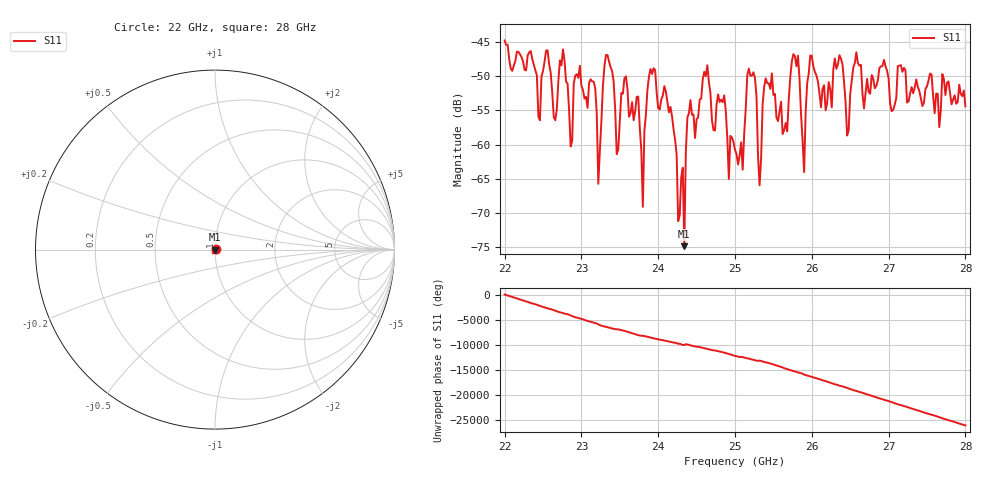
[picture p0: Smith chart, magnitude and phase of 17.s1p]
#  HZ  S  RI  R  50.00
! Rohde & Schwarz ZVA40 4Ports - Version 3.90 - 1145.1110k42 SN: 100403
! Date: 2023-10-04 05:57:40
! Measurement: S12
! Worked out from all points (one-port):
!   301 points, 22 GHz to 28 GHz, reference 50 ohm
!   lowest |S11| = -74.8 dB at 24.34 GHz (marker M1), VSWR 1.00, Z = 50 + j0.0167 ohm
!   |S11| at or under -10 dB: start of sweep to end of sweep
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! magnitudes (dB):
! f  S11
! 22 GHz  -44.8
! 22.46 GHz  -56.5
! 22.76 GHz  -46.1
! 22.86 GHz  -60.3
! 23.16 GHz  -50.8
! 23.22 GHz  -65.7
! 23.32 GHz  -46.9
! 23.5 GHz  -56.6
! 23.74 GHz  -53.0
! 23.8 GHz  -69.1
! 23.86 GHz  -52.0
! 23.96 GHz  -49.2
! 24.26 GHz  -71.2
! 24.32 GHz  -63.4
! 24.34 GHz  -74.8
! 24.38 GHz  -56.1
! 24.64 GHz  -48.4
! 25 GHz  -60.8
! 25.24 GHz  -49.5
! 25.32 GHz  -65.9
! 25.4 GHz  -50.4
! 25.68 GHz  -58.1
! 25.76 GHz  -46.8
! 25.9 GHz  -64.0
! 25.98 GHz  -47.0
! 26.5 GHz  -52.7
! 27.26 GHz  -53.7
! 28 GHz  -54.4
